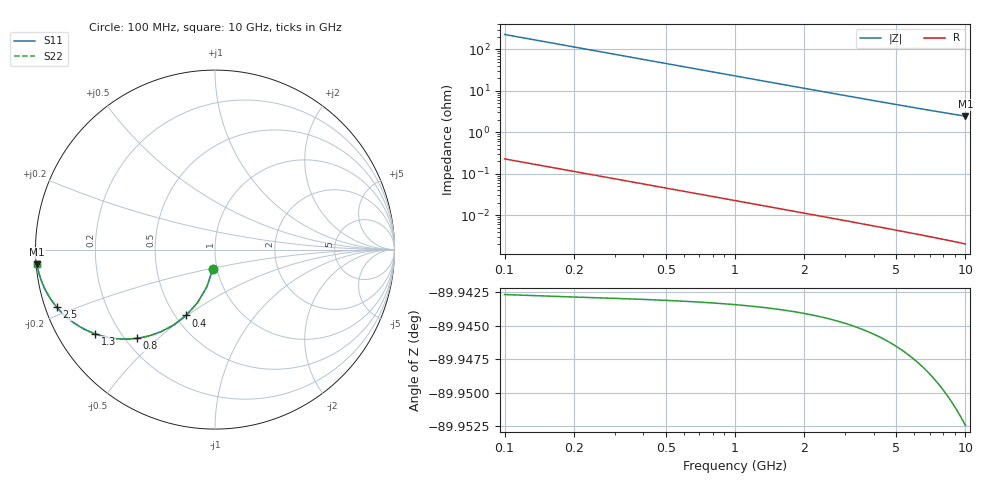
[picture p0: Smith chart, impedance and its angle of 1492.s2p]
# Hz S RI R 50.00
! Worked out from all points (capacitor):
!   100 points, 100 MHz to 10 GHz, reference 50 ohm
!   read as one part in shunt: C = 6.97 pF near 100 MHz
!   lowest |Z| = 2.45 ohm at 10 GHz (marker M1)
!   S11 on the Smith chart (normalised r, x): 100 MHz: 0.95, -0.21; 400 MHz: 0.57, -0.49; 800 MHz: 0.25, -0.43; 1.3 GHz: 0.11, -0.31; 2.5 GHz: 0.03, -0.18; 10 GHz: 0.00, -0.04
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1e8  -0.012 -0.1081  0.988 -0.1083  0.988 -0.1083  -0.012 -0.1081
2e8  -0.046 -0.2088  0.954 -0.2091  0.954 -0.2091  -0.046 -0.2088
3e8  -0.0977 -0.2962  0.9023 -0.2966  0.9023 -0.2966  -0.0977 -0.2962
4e8  -0.1612 -0.3669  0.8388 -0.3675  0.8388 -0.3675  -0.1612 -0.3669
5e8  -0.2308 -0.4205  0.7692 -0.4212  0.7692 -0.4212  -0.2308 -0.4205
6e8  -0.3015 -0.458  0.6984 -0.4589  0.6984 -0.4589  -0.3015 -0.458
7e8  -0.3699 -0.4818  0.63 -0.4828  0.63 -0.4828  -0.3699 -0.4818
8e8  -0.4339 -0.4945  0.5661 -0.4957  0.5661 -0.4957  -0.4339 -0.4945
1e9  -0.5446 -0.4968  0.4554 -0.4982  0.4554 -0.4982  -0.5446 -0.4968
1.1e9  -0.5912 -0.4903  0.4088 -0.4919  0.4088 -0.4919  -0.5912 -0.4903
1.3e9  -0.6686 -0.4693  0.3314 -0.4711  0.3314 -0.4711  -0.6686 -0.4693
1.5e9  -0.7285 -0.4432  0.2715 -0.4453  0.2715 -0.4453  -0.7285 -0.4432
1.8e9  -0.7941 -0.4026  0.2059 -0.4051  0.2059 -0.4051  -0.7941 -0.4026
2.1e9  -0.8398 -0.3648  0.1602 -0.3678  0.1602 -0.3678  -0.8398 -0.3648
2.5e9  -0.8812 -0.3213  0.1188 -0.3249  0.1188 -0.3249  -0.8812 -0.3213
2.9e9  -0.9088 -0.2853  0.0912 -0.2895  0.0912 -0.2895  -0.9088 -0.2853
3.4e9  -0.9318 -0.249  0.0681 -0.2539  0.0681 -0.2539  -0.9318 -0.249
4.2e9  -0.9542 -0.2054  0.0458 -0.2116  0.0458 -0.2116  -0.9542 -0.2054
5.1e9  -0.9685 -0.1704  0.0315 -0.1779  0.0315 -0.1779  -0.9685 -0.1704
6.7e9  -0.9815 -0.129  0.0184 -0.139  0.0184 -0.139  -0.9815 -0.129
8.4e9  -0.9882 -0.1008  0.0117 -0.1134  0.0117 -0.1134  -0.9882 -0.1008
1e10  -0.9917 -0.082  0.00813 -0.0972  0.00813 -0.0972  -0.9917 -0.082
